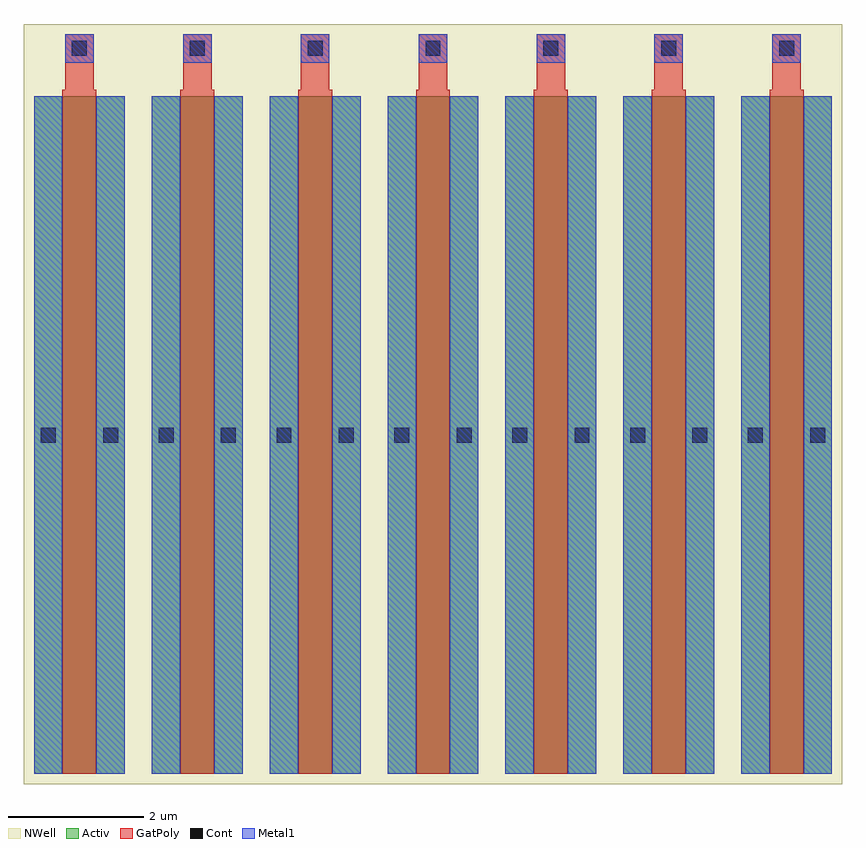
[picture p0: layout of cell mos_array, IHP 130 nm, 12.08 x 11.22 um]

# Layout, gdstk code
import gdstk
lib = gdstk.Library(unit=1e-6, precision=1e-09)
def R(c, l, rs):  # rectangles x0, y0, x1, y1
    for r in rs: c.add(gdstk.rectangle(r[:2], r[2:], *l))
def A(c, l, x, y, w, h, nx, ny, dx, dy):  # array of equal rectangles
    R(c, l, [(x+i*dx, y+j*dy, x+i*dx+w, y+j*dy+h) for i in range(nx) for j in range(ny)])
Activ = (1, 0)
GatPoly = (5, 0)
Cont = (6, 0)
Metal1 = (8, 0)
NWell = (31, 0)

mos_array = lib.new_cell('mos_array')
A(mos_array, Activ, 0, 0, 1.34, 10, 7, 1, 1.74, 0)
A(mos_array, GatPoly, 0.42, 0, 0.5, 10, 7, 1, 1.74, 0)
A(mos_array, GatPoly, 0.42, 10, 0.5, 0.1, 7, 1, 1.74, 0)
A(mos_array, GatPoly, 0.46, 10.1, 0.42, 0.82, 7, 1, 1.74, 0)
A(mos_array, Cont, 0.56, 10.6, 0.22, 0.22, 7, 1, 1.74, 0)
R(mos_array, Cont, [(0.1,4.89,0.32,5.11), (1.02,4.89,1.24,5.11), (1.84,4.89,2.06,5.11), (2.76,4.89,2.98,5.11), (3.58,4.89,3.8,5.11), (4.5,4.89,4.72,5.11), (5.32,4.89,5.54,5.11), (6.24,4.89,6.46,5.11), (7.06,4.89,7.28,5.11), (7.98,4.89,8.2,5.11), (8.8,4.89,9.02,5.11), (9.72,4.89,9.94,5.11), (10.54,4.89,10.76,5.11), (11.46,4.89,11.68,5.11)])
A(mos_array, Metal1, 0.46, 10.5, 0.42, 0.42, 7, 1, 1.74, 0)
R(mos_array, Metal1, [(0,0,0.42,10), (0.92,0,1.34,10), (1.74,0,2.16,10), (2.66,0,3.08,10), (3.48,0,3.9,10), (4.4,0,4.82,10), (5.22,0,5.64,10), (6.14,0,6.56,10), (6.96,0,7.38,10), (7.88,0,8.3,10), (8.7,0,9.12,10), (9.62,0,10.04,10), (10.44,0,10.86,10), (11.36,0,11.78,10)])
R(mos_array, NWell, [(-0.15,-0.15,11.93,11.07)])

lib.write_gds('mos_array.gds')
